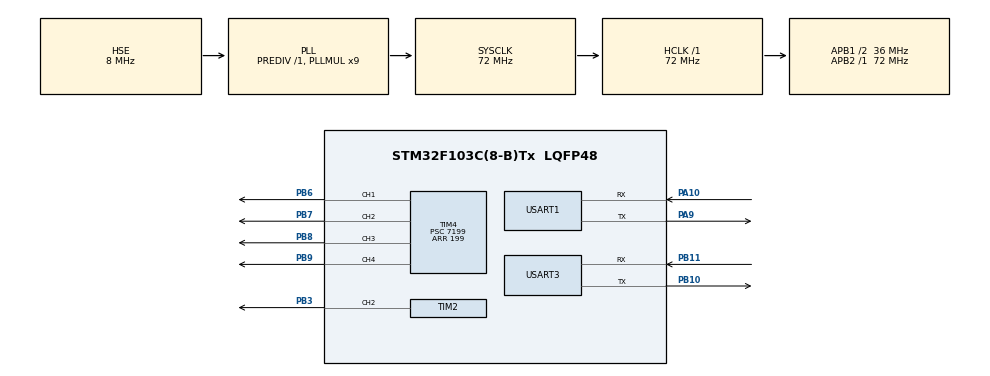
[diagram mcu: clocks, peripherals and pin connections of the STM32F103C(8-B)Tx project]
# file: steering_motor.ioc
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Dma.Request0=USART1_RX
Dma.Request1=USART1_TX
Dma.Request2=USART3_RX
Dma.Request3=USART3_TX
Dma.USART1_RX.0.Direction=DMA_PERIPH_TO_MEMORY
Dma.USART1_RX.0.Instance=DMA1_Channel5
Dma.USART1_RX.0.MemDataAlignment=DMA_MDATAALIGN_BYTE
Dma.USART1_RX.0.MemInc=DMA_MINC_ENABLE
Dma.USART1_RX.0.Mode=DMA_NORMAL
Dma.USART1_RX.0.PeriphDataAlignment=DMA_PDATAALIGN_BYTE
Dma.USART1_RX.0.PeriphInc=DMA_PINC_DISABLE
Dma.USART1_RX.0.Priority=DMA_PRIORITY_LOW
Dma.USART1_TX.1.Direction=DMA_MEMORY_TO_PERIPH
Dma.USART1_TX.1.Instance=DMA1_Channel4
Dma.USART1_TX.1.MemDataAlignment=DMA_MDATAALIGN_BYTE
Dma.USART1_TX.1.MemInc=DMA_MINC_ENABLE
Dma.USART1_TX.1.Mode=DMA_NORMAL
Dma.USART1_TX.1.PeriphDataAlignment=DMA_PDATAALIGN_BYTE
Dma.USART1_TX.1.PeriphInc=DMA_PINC_DISABLE
Dma.USART1_TX.1.Priority=DMA_PRIORITY_LOW
Dma.USART3_RX.2.Direction=DMA_PERIPH_TO_MEMORY
Dma.USART3_RX.2.Instance=DMA1_Channel3
Dma.USART3_RX.2.MemDataAlignment=DMA_MDATAALIGN_BYTE
Dma.USART3_RX.2.MemInc=DMA_MINC_ENABLE
Dma.USART3_RX.2.Mode=DMA_NORMAL
Dma.USART3_RX.2.PeriphDataAlignment=DMA_PDATAALIGN_BYTE
Dma.USART3_RX.2.PeriphInc=DMA_PINC_DISABLE
Dma.USART3_RX.2.Priority=DMA_PRIORITY_LOW
Dma.USART3_TX.3.Direction=DMA_MEMORY_TO_PERIPH
Dma.USART3_TX.3.Instance=DMA1_Channel2
Dma.USART3_TX.3.MemDataAlignment=DMA_MDATAALIGN_BYTE
Dma.USART3_TX.3.MemInc=DMA_MINC_ENABLE
Dma.USART3_TX.3.Mode=DMA_NORMAL
Dma.USART3_TX.3.PeriphDataAlignment=DMA_PDATAALIGN_BYTE
Dma.USART3_TX.3.PeriphInc=DMA_PINC_DISABLE
Dma.USART3_TX.3.Priority=DMA_PRIORITY_LOW
FREERTOS.INCLUDE_vTaskDelayUntil=1
FREERTOS.Tasks01=defaultTask,0,128,StartDefaultTask,Default,NULL,Dynamic,NULL,NULL
Mcu.Family=STM32F1
Mcu.Name=STM32F103C(8-B)Tx
Mcu.Package=LQFP48
NVIC.DMA1_Channel2_IRQn=true\:5\:0\:false\:false\:true\:true\:false\:true
NVIC.DMA1_Channel3_IRQn=true\:5\:0\:false\:false\:true\:true\:false\:true
NVIC.DMA1_Channel4_IRQn=true\:5\:0\:false\:false\:true\:true\:false\:true
NVIC.DMA1_Channel5_IRQn=true\:5\:0\:false\:false\:true\:true\:false\:true
NVIC.PriorityGroup=NVIC_PRIORITYGROUP_4
NVIC.TIM1_UP_IRQn=true\:15\:0\:false\:false\:true\:false\:false\:true
NVIC.TimeBase=TIM1_UP_IRQn
NVIC.TimeBaseIP=TIM1
NVIC.USART1_IRQn=true\:5\:0\:false\:false\:true\:true\:true\:true
NVIC.USART3_IRQn=true\:5\:0\:false\:false\:true\:true\:true\:true
PA10.Mode=Asynchronous
PA10.Signal=USART1_RX
PA13.Mode=Serial_Wire
PA13.Signal=SYS_JTMS-SWDIO
PA14.Mode=Serial_Wire
PA14.Signal=SYS_JTCK-SWCLK
PA9.Mode=Asynchronous
PA9.Signal=USART1_TX
PB10.Mode=Asynchronous
PB10.Signal=USART3_TX
PB11.Mode=Asynchronous
PB11.Signal=USART3_RX
PB3.Signal=S_TIM2_CH2
PB6.Signal=S_TIM4_CH1
PB7.Signal=S_TIM4_CH2
PB8.Signal=S_TIM4_CH3
PB9.Signal=S_TIM4_CH4
PD0-OSC_IN.Mode=HSE-External-Oscillator
PD0-OSC_IN.Signal=RCC_OSC_IN
PD1-OSC_OUT.Mode=HSE-External-Oscillator
PD1-OSC_OUT.Signal=RCC_OSC_OUT
ProjectManager.HeapSize=0x200
ProjectManager.StackSize=0x400
ProjectManager.TargetToolchain=MDK-ARM V5.27
RCC.AHBFreq_Value=72000000
RCC.APB1CLKDivider=RCC_HCLK_DIV2
RCC.APB1Freq_Value=36000000
RCC.APB1TimFreq_Value=72000000
RCC.APB2Freq_Value=72000000
RCC.APB2TimFreq_Value=72000000
RCC.HCLKFreq_Value=72000000
RCC.PLLMUL=RCC_PLL_MUL9
RCC.PLLSourceVirtual=RCC_PLLSOURCE_HSE
RCC.SYSCLKFreq_VALUE=72000000
RCC.SYSCLKSource=RCC_SYSCLKSOURCE_PLLCLK
RCC.USBFreq_Value=72000000
SH.S_TIM2_CH2.0=TIM2_CH2,PWM Generation2 CH2
SH.S_TIM4_CH1.0=TIM4_CH1,PWM Generation1 CH1
SH.S_TIM4_CH2.0=TIM4_CH2,PWM Generation2 CH2
SH.S_TIM4_CH3.0=TIM4_CH3,PWM Generation3 CH3
SH.S_TIM4_CH4.0=TIM4_CH4,PWM Generation4 CH4
TIM2.Channel-PWM\ Generation2\ CH2=TIM_CHANNEL_2
TIM2.Period=199
TIM2.Prescaler=7199
TIM2.Pulse-PWM\ Generation2\ CH2=15
TIM4.Channel-PWM\ Generation1\ CH1=TIM_CHANNEL_1
TIM4.Channel-PWM\ Generation2\ CH2=TIM_CHANNEL_2
TIM4.Channel-PWM\ Generation3\ CH3=TIM_CHANNEL_3
TIM4.Channel-PWM\ Generation4\ CH4=TIM_CHANNEL_4
TIM4.Period=199
TIM4.Prescaler=7199
TIM4.Pulse-PWM\ Generation1\ CH1=15
TIM4.Pulse-PWM\ Generation2\ CH2=15
TIM4.Pulse-PWM\ Generation3\ CH3=15
TIM4.Pulse-PWM\ Generation4\ CH4=15
USART1.VirtualMode=VM_ASYNC
USART3.VirtualMode=VM_ASYNC
VP_FREERTOS_VS_CMSIS_V1.Mode=CMSIS_V1
VP_SYS_VS_tim1.Mode=TIM1
VP_TIM2_VS_ClockSourceINT.Mode=Internal
VP_TIM4_VS_ClockSourceINT.Mode=Internal
board=custom

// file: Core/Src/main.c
/* USER CODE BEGIN Header */
/**
  ******************************************************************************
  * @file           : main.c
  * @brief          : Main program body
  ******************************************************************************
  * @attention
  *
  * <h2><center>&copy; Copyright (c) 2023 STMicroelectronics.
  * All rights reserved.</center></h2>
  *
  * This software component is licensed by ST under BSD 3-Clause license,
  * the "License"; You may not use this file except in compliance with the
  * License. You may obtain a copy of the License at:
  *                        opensource.org/licenses/BSD-3-Clause
  *
  ******************************************************************************
  */
/* USER CODE END Header */
#include "main.h"
#include "cmsis_os.h"
#include "dma.h"
#include "tim.h"
#include "usart.h"
#include "gpio.h"

/* USER CODE BEGIN Includes */
#include "string.h"
#include "usart_comm.h"
#include "joint_ctrl.h"
/* USER CODE END Includes */

void SystemClock_Config(void);
void MX_FREERTOS_Init(void);

int main(void)
{

  /* MCU Configuration--------------------------------------------------------*/

  /* Reset of all peripherals, Initializes the Flash interface and the Systick. */
  HAL_Init();

  /* Configure the system clock */
  SystemClock_Config();

  /* Initialize all configured peripherals */
  MX_GPIO_Init();
  MX_TIM2_Init();
  MX_DMA_Init();
  MX_USART1_UART_Init();
  MX_TIM4_Init();
  MX_USART3_UART_Init();
  /* USER CODE BEGIN 2 */
	HAL_TIM_PWM_Start(&htim2, TIM_CHANNEL_2);
    HAL_TIM_PWM_Start(&htim4, TIM_CHANNEL_1);
    HAL_TIM_PWM_Start(&htim4, TIM_CHANNEL_2);
    HAL_TIM_PWM_Start(&htim4, TIM_CHANNEL_3);
    HAL_TIM_PWM_Start(&htim4, TIM_CHANNEL_4);

    USER_USART_Init();

    HAL_Delay(100);

  /* USER CODE END 2 */

  /* Call init function for freertos objects (in freertos.c) */
  MX_FREERTOS_Init();
  /* Start scheduler */
  osKernelStart();

  /* We should never get here as control is now taken by the scheduler */
  /* Infinite loop */
  while (1)
  {

  }
}

void SystemClock_Config(void)
{
  RCC_OscInitTypeDef RCC_OscInitStruct = {0};
  RCC_ClkInitTypeDef RCC_ClkInitStruct = {0};

  /** Initializes the RCC Oscillators according to the specified parameters
  * in the RCC_OscInitTypeDef structure.
  */
  RCC_OscInitStruct.OscillatorType = RCC_OSCILLATORTYPE_HSE;
  RCC_OscInitStruct.HSEState = RCC_HSE_ON;
  RCC_OscInitStruct.HSEPredivValue = RCC_HSE_PREDIV_DIV1;
  RCC_OscInitStruct.HSIState = RCC_HSI_ON;
  RCC_OscInitStruct.PLL.PLLState = RCC_PLL_ON;
  RCC_OscInitStruct.PLL.PLLSource = RCC_PLLSOURCE_HSE;
  RCC_OscInitStruct.PLL.PLLMUL = RCC_PLL_MUL9;
  if (HAL_RCC_OscConfig(&RCC_OscInitStruct) != HAL_OK)
  {
    Error_Handler();
  }
  /** Initializes the CPU, AHB and APB buses clocks
  */
  RCC_ClkInitStruct.ClockType = RCC_CLOCKTYPE_HCLK|RCC_CLOCKTYPE_SYSCLK
                              |RCC_CLOCKTYPE_PCLK1|RCC_CLOCKTYPE_PCLK2;
  RCC_ClkInitStruct.SYSCLKSource = RCC_SYSCLKSOURCE_PLLCLK;
  RCC_ClkInitStruct.AHBCLKDivider = RCC_SYSCLK_DIV1;
  RCC_ClkInitStruct.APB1CLKDivider = RCC_HCLK_DIV2;
  RCC_ClkInitStruct.APB2CLKDivider = RCC_HCLK_DIV1;

  if (HAL_RCC_ClockConfig(&RCC_ClkInitStruct, FLASH_LATENCY_2) != HAL_OK)
  {
    Error_Handler();
  }
}

void HAL_TIM_PeriodElapsedCallback(TIM_HandleTypeDef *htim)
{
  if (htim->Instance == TIM1) {
    HAL_IncTick();
  }
}

void Error_Handler(void)
{
}

/************************ (C) COPYRIGHT STMicroelectronics *****END OF FILE****/

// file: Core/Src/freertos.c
/* USER CODE BEGIN Header */
/**
  ******************************************************************************
  * File Name          : freertos.c
  * Description        : Code for freertos applications
  ******************************************************************************
  * @attention
  *
  * <h2><center>&copy; Copyright (c) 2023 STMicroelectronics.
  * All rights reserved.</center></h2>
  *
  * This software component is licensed by ST under Ultimate Liberty license
  * SLA0044, the "License"; You may not use this file except in compliance with
  * the License. You may obtain a copy of the License at:
  *                             www.st.com/SLA0044
  *
  ******************************************************************************
  */
/* USER CODE END Header */

#include "FreeRTOS.h"
#include "task.h"
#include "main.h"
#include "cmsis_os.h"

/* USER CODE BEGIN Includes */
#include "control_def.h"
#include "joint_ctrl.h"
#include "usart_send_msg.h"
#include "ros_msg_pub.h"
#include "usart_comm.h"
/* USER CODE END Includes */

osThreadId defaultTaskHandle;

/* USER CODE BEGIN FunctionPrototypes */
osThreadId usart_send_TaskHandle;
osThreadId joint_TaskHandle;
osThreadId ros_msg_pub_TaskHandle;

QueueHandle_t xViaPointQueue;

/* USER CODE END FunctionPrototypes */

void StartDefaultTask(void const * argument);

void MX_FREERTOS_Init(void); /* (MISRA C 2004 rule 8.1) */

/* GetIdleTaskMemory prototype (linked to static allocation support) */
void vApplicationGetIdleTaskMemory( StaticTask_t **ppxIdleTaskTCBBuffer, StackType_t **ppxIdleTaskStackBuffer, uint32_t *pulIdleTaskStackSize );

/* USER CODE BEGIN GET_IDLE_TASK_MEMORY */
static StaticTask_t xIdleTaskTCBBuffer;
static StackType_t xIdleStack[configMINIMAL_STACK_SIZE];

void vApplicationGetIdleTaskMemory( StaticTask_t **ppxIdleTaskTCBBuffer, StackType_t **ppxIdleTaskStackBuffer, uint32_t *pulIdleTaskStackSize )
{
  *ppxIdleTaskTCBBuffer = &xIdleTaskTCBBuffer;
  *ppxIdleTaskStackBuffer = &xIdleStack[0];
  *pulIdleTaskStackSize = configMINIMAL_STACK_SIZE;
  /* place for user code */
}
/* USER CODE END GET_IDLE_TASK_MEMORY */

void MX_FREERTOS_Init(void) {

  /* USER CODE BEGIN RTOS_QUEUES */
  /* add queues, ... */

  xViaPointQueue = xQueueCreate(VIA_POINT_NUM, sizeof(point_t));

  /* USER CODE END RTOS_QUEUES */

  /* Create the thread(s) */
  /* definition and creation of defaultTask */
  osThreadDef(defaultTask, StartDefaultTask, osPriorityNormal, 0, 128);
  defaultTaskHandle = osThreadCreate(osThread(defaultTask), NULL);

  /* USER CODE BEGIN RTOS_THREADS */

  osThreadDef(usart_send_Task, usart_msg_send_task, osPriorityNormal, 0, 128);
  usart_send_TaskHandle = osThreadCreate(osThread(usart_send_Task), NULL);

  osThreadDef(ros_msg_pub_Task, ros_msg_pub_task, osPriorityNormal, 0, 128);
  ros_msg_pub_TaskHandle = osThreadCreate(osThread(ros_msg_pub_Task), NULL);

  osThreadDef(joint_Task, joint_task, osPriorityNormal, 0, 128);
  joint_TaskHandle = osThreadCreate(osThread(joint_Task), NULL);

  /* add threads, ... */
  /* USER CODE END RTOS_THREADS */

}

void StartDefaultTask(void const * argument)
{
  for(;;)
  {
    osDelay(1);
  }
}

/************************ (C) COPYRIGHT STMicroelectronics *****END OF FILE****/
